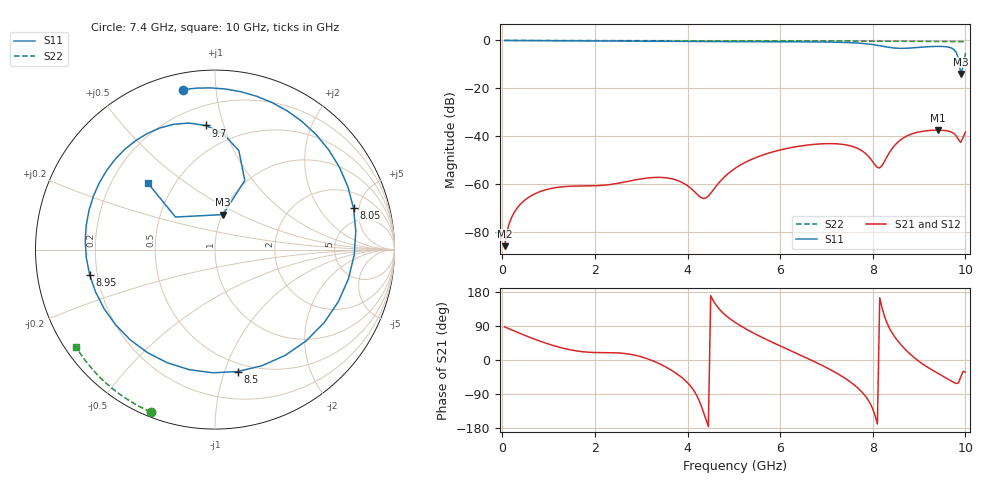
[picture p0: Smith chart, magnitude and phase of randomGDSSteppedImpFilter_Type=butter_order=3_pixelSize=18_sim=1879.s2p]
! freq	dB(S11)	phase(S11)	dB(S12)	phase(S12)
!  dB(S21)	phase(S21)	dB(S22)	phase(S22)
!S-par simulation data
#  GHz  S  DB  R 50
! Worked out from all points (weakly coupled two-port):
!   200 points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, 50 MHz to 10 GHz, reference 50 ohm
!   highest |S21| = -37.45 dB at 9.4 GHz (marker M1); lowest = -85.9 dB at 50 MHz (marker M2)
!   lowest |S11| = -14.0 dB at 9.9 GHz (marker M3), VSWR 1.50, Z = 50.4 + j20.5 ohm
!   |S11| at or under -10 dB: 9.869 GHz to 9.958 GHz (89.29 MHz wide, 0.901 % of centre)
!   |S22| runs from -0.5 to 0.0 dB; largest |S21 - S12| = 0
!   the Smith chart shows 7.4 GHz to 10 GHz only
!   S11 on the Smith chart (normalised r, x): 7.4 GHz: 0.08, +0.82; 8.05 GHz: 3.35, +4.38; 8.5 GHz: 0.43, -1.11; 8.95 GHz: 0.17, -0.10; 9.7 GHz: 0.33, +0.87; 10 GHz: 0.35, +0.37
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0.05  -0.00 -4.5  -85.87 87.4  -85.87 87.4  -0.00 -0.8
0.4  -0.05 -35.2  -68.18 69.3  -68.18 69.3  -0.01 -6.7
0.9  -0.10 -77.2  -62.54 46.1  -62.54 46.1  -0.02 -15.1
1.75  -0.16 -142.8  -60.74 21.7  -60.74 21.7  -0.04 -29.0
2.55  -0.22 156.4  -59.44 18.2  -59.44 18.2  -0.05 -41.9
3.4  -0.33 80.7  -57.15 -10.3  -57.15 -10.3  -0.07 -55.1
3.85  -0.40 33.9  -58.99 -43.8  -58.99 -43.8  -0.08 -62.0
4.2  -0.44 -3.5  -64.05 -93.9  -64.05 -93.9  -0.09 -67.2
4.4  -0.46 -24.4  -65.71 -158.4  -65.71 -158.4  -0.10 -70.2
5.05  -0.48 -85.1  -53.08 97.4  -53.08 97.4  -0.12 -79.6
5.9  -0.50 -148.7  -46.20 42.8  -46.20 42.8  -0.16 -91.5
6.7  -0.59 157.3  -43.43 -2.1  -43.43 -2.1  -0.20 -102.4
7.4  -0.83 101.3  -43.52 -48.2  -43.52 -48.2  -0.24 -111.6
7.75  -1.20 62.5  -45.88 -82.6  -45.88 -82.6  -0.27 -116.2
8.05  -1.88 16.6  -51.95 -146.6  -51.95 -146.6  -0.29 -120.1
8.35  -2.87 -45.0  -47.09 86.3  -47.09 86.3  -0.32 -124.0
8.5  -3.21 -79.5  -43.24 56.7  -43.24 56.7  -0.33 -125.9
8.95  -2.95 -168.5  -38.39 0.9  -38.39 0.9  -0.37 -131.6
9.4  -2.48 132.0  -37.45 -34.8  -37.45 -34.8  -0.42 -137.4
9.7  -3.18 94.3  -38.27 -55.7  -38.27 -55.7  -0.45 -141.2
9.9  -13.98 77.3  -42.55 -44.7  -42.55 -44.7  -0.48 -143.8
10  -5.53 135.2  -38.25 -32.1  -38.25 -32.1  -0.49 -145.1
